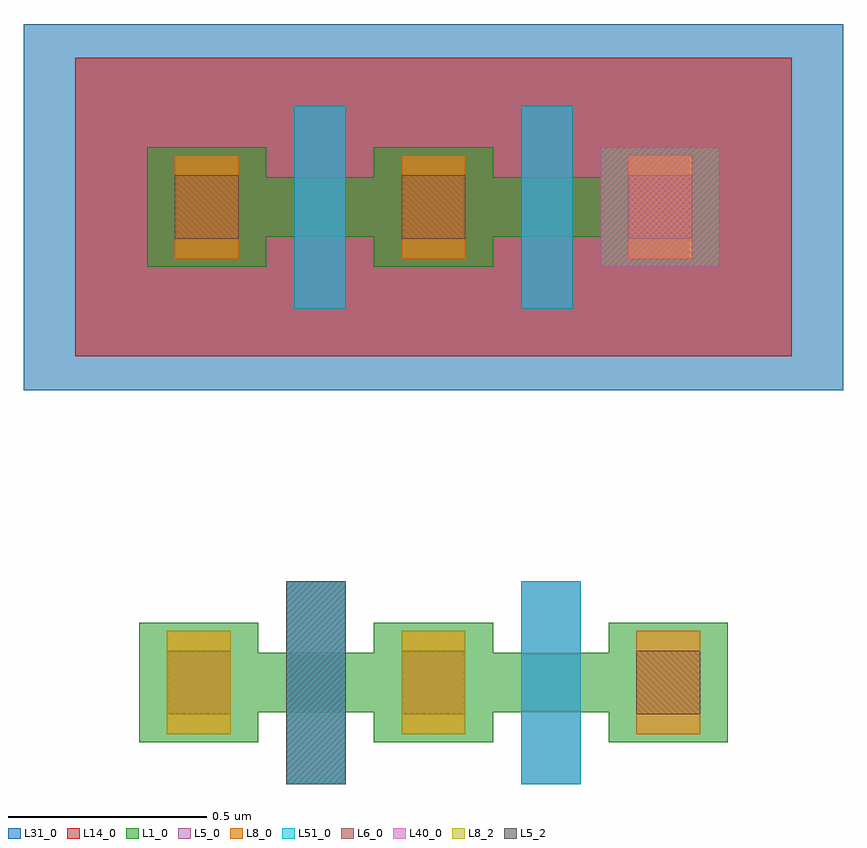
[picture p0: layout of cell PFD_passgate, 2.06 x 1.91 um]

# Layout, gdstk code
import gdstk
lib = gdstk.Library(unit=1e-6, precision=1e-09)
def R(c, l, rs):  # rectangles x0, y0, x1, y1
    for r in rs: c.add(gdstk.rectangle(r[:2], r[2:], *l))
def A(c, l, x, y, w, h, nx, ny, dx, dy):  # array of equal rectangles
    R(c, l, [(x+i*dx, y+j*dy, x+i*dx+w, y+j*dy+h) for i in range(nx) for j in range(ny)])
L1_0 = (1, 0)
L5_0 = (5, 0)
L5_2 = (5, 2)
L6_0 = (6, 0)
L8_0 = (8, 0)
L8_2 = (8, 2)
L14_0 = (14, 0)
L31_0 = (31, 0)
L40_0 = (40, 0)
L51_0 = (51, 0)

pmos = lib.new_cell('pmos')
A(pmos, L1_0, 0, 0, 0.3, 0.3, 3, 1, 0.57, 0)
R(pmos, L1_0, [(0,0.075,1.44,0.225)])
R(pmos, L5_0, [(0.37,-0.105,0.5,0.405), (0.37,-0.105,0.5,0.405), (0.94,-0.105,1.07,0.405)])
A(pmos, L6_0, 0.07, 0.07, 0.16, 0.16, 3, 1, 0.57, 0)
R(pmos, L8_0, [(0.07,0.02,0.23,0.28), (0.07,0.02,0.23,0.28), (0.64,0.02,0.8,0.28), (0.64,0.02,0.8,0.28), (1.21,0.02,1.37,0.28)])
R(pmos, L14_0, [(-0.18,-0.225,1.62,0.525)])
R(pmos, L31_0, [(-0.31,-0.31,1.75,0.61)])
R(pmos, L40_0, [(1.14,0,1.44,0.3)])
R(pmos, L51_0, [(0.37,-0.105,0.5,0.405), (0.94,-0.105,1.07,0.405)])
pmos.add(gdstk.Label('pmos', (0.435,0.15), layer=63, texttype=0))
pmos.add(gdstk.Label('pmos', (0.435,0.15), layer=51, texttype=0))
pmos.add(gdstk.Label('pmos', (1.005,0.15), layer=51, texttype=0))

nmos = lib.new_cell('nmos')
A(nmos, L1_0, 0, 0, 0.3, 0.3, 3, 1, 0.59, 0)
R(nmos, L1_0, [(0,0.075,1.48,0.225)])
R(nmos, L5_0, [(0.37,-0.105,0.52,0.405), (0.96,-0.105,1.11,0.405)])
R(nmos, L5_2, [(0.37,-0.105,0.52,0.405)])
A(nmos, L6_0, 0.07, 0.07, 0.16, 0.16, 3, 1, 0.59, 0)
A(nmos, L8_0, 0.07, 0.02, 0.16, 0.26, 3, 1, 0.59, 0)
R(nmos, L8_2, [(0.07,0.02,0.23,0.28), (0.66,0.02,0.82,0.28)])
R(nmos, L51_0, [(0.37,-0.105,0.52,0.405), (0.96,-0.105,1.11,0.405)])
nmos.add(gdstk.Label('nmos', (0.445,0.15), layer=63, texttype=0))
nmos.add(gdstk.Label('nmos', (0.445,0.15), layer=51, texttype=0))
nmos.add(gdstk.Label('nmos', (1.035,0.15), layer=51, texttype=0))

pfd_passgate = lib.new_cell('PFD_passgate')
pfd_passgate.add(gdstk.Reference(pmos, (-0.37,1.1)))
pfd_passgate.add(gdstk.Reference(nmos, (-0.39,-0.095)))

lib.write_gds('PFD_passgate.gds')
